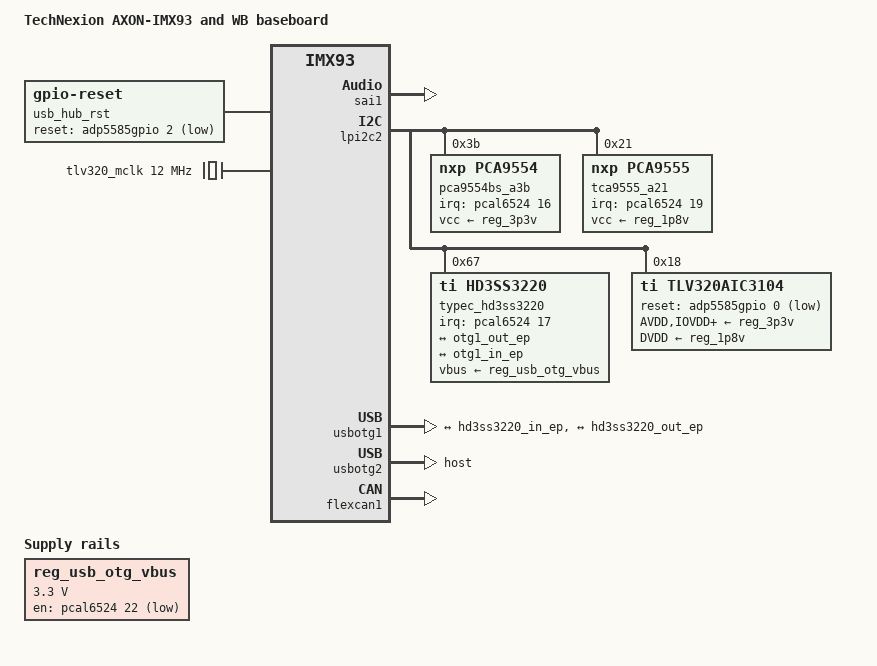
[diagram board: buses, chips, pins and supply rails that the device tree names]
// SPDX-License-Identifier: (GPL-2.0+ OR MIT)
/*
 * Copyright 2022 NXP
 */

/dts-v1/;

#include <dt-bindings/usb/pd.h>
#include "imx93-axon.dtsi"

/ {
	model = "TechNexion AXON-IMX93 and WB baseboard";
	compatible = "fsl,imx93-axon", "fsl,imx93";

	reg_usb_otg_vbus: usb_otg_vbus {
		compatible = "regulator-fixed";
		regulator-name = "usb_otg_vbus";
		regulator-min-microvolt = <3300000>;
		regulator-max-microvolt = <3300000>;
		gpio = <&pcal6524 22 GPIO_ACTIVE_LOW>;
		enable-active-low;
	};

	usb_hub_rst: usb_hub_rst {
		compatible = "gpio-reset";
		reset-gpios = <&adp5585gpio 2 GPIO_ACTIVE_LOW>;
		reset-delay-us = <10>;
		#reset-cells = <0>;
	};

	reg_lvds_pwr: regulator_lvdspwr {
		compatible = "regulator-fixed";
		regulator-name = "lvds0_vdden";
		regulator-min-microvolt = <3300000>;
		regulator-max-microvolt = <3300000>;
		gpio = <&adp5585gpio 5 GPIO_ACTIVE_HIGH>;
		enable-active-high;
		status = "disabled";
	};


	reg_lvds_backlight_pwr: regulator_lvdsblpwr {
		compatible = "regulator-fixed";
		regulator-name = "lvds0_bl_en";
		regulator-min-microvolt = <3300000>;
		regulator-max-microvolt = <3300000>;
		gpio = <&adp5585gpio 7 GPIO_ACTIVE_HIGH>;
		enable-active-high;
		regulator-always-on;
		status = "disabled";
	};


	lvds_backlight: lvds_backlight {
		compatible = "pwm-backlight";
		pwms = <&adp5585pwm 0 50000 0>;
		brightness-levels = <0 36 72 108 144 180 216 255>;
		default-brightness-level = <6>;
		status = "disabled";
	};

	reg_lcd_backlight_en: regulator_lcdblen {
		compatible = "regulator-fixed";
		regulator-name = "lcd_bl_en";
		regulator-min-microvolt = <5000000>;
		regulator-max-microvolt = <5000000>;
		gpio = <&adp5585gpio 4 GPIO_ACTIVE_HIGH>;
		enable-active-high;
		regulator-always-on;
		status = "disabled";
	};

/*	adp5585 have only one pwm output, this is backup for future PCB.
	lcd_backlight: lcd_backlight {
		compatible = "pwm-backlight";
		pwms = <&adp5585pwm 6 50000 0>;
		brightness-levels = <0 36 72 108 144 180 216 255>;
		default-brightness-level = <6>;
		status = "disabled";
	};
*/
	lcd_backlight: lcd_backlight {
		compatible = "regulator-fixed";
		regulator-name = "lcd_bl_full_duty_cycle";
		regulator-min-microvolt = <5000000>;
		regulator-max-microvolt = <5000000>;
		gpio = <&adp5585gpio 6 GPIO_ACTIVE_HIGH>;
		enable-active-high;
		regulator-always-on;
		status = "disabled";
	};

	tlv320_mclk: clk-0 {
		#clock-cells = <0>;
		compatible = "fixed-clock";
		clock-frequency = <12000000>;
	};

	sound {
		compatible = "simple-audio-card";
		simple-audio-card,name = "tlv320aic3x-audio";
		simple-audio-card,widgets =
			"Headphone", "Headphone Jack",
			"Microphone", "Mic Jack";
		simple-audio-card,routing =
			"Headphone Jack", "HPLOUT",
			"Headphone Jack", "HPROUT",
			"MIC2R", "Mic Jack",
			"Mic Jack", "Mic Bias";
		simple-audio-card,format = "dsp_b";
		simple-audio-card,bitclock-master = <&sound_master>;
		simple-audio-card,frame-master = <&sound_master>;
		simple-audio-card,bitclock-inversion;
		status = "okay";

		simple-audio-card,cpu {
			sound-dai = <&sai1>;
		};

		sound_master: simple-audio-card,codec {
			sound-dai = <&tlv320aic3104>;
			clocks = <&tlv320_mclk>;
		};
	};
};

&sai1 {
	status = "okay";
};

&lpi2c2 {
	status = "okay";

	pca9554bs_a3b: pca9554bs@3b {
		compatible = "nxp,pca9554";
		reg = <0x3b>;
		vcc-supply = <&reg_3p3v>;
		gpio-controller;
		#gpio-cells = <2>;
		interrupt-controller;
		#interrupt-cells = <2>;
		interrupt-parent = <&pcal6524>;
		interrupts = <16 IRQ_TYPE_EDGE_FALLING>;
		status = "okay";
		gpio-line-names = "M2_DISABLE_N", "LED_EN", "USB_OTG_OC", "EXT_GPIO8",
					"EXT_GPIO9", "CSI1_PDB", "AUD_A_SW", "PD_FAULT";
	};

	tca9555_a21: tca9555@21 {
		compatible = "nxp,pca9555";
		reg = <0x21>;
		vcc-supply = <&reg_1p8v>;
		gpio-controller;
		#gpio-cells = <2>;
		interrupt-controller;
		#interrupt-cells = <2>;
		interrupt-parent = <&pcal6524>;
		interrupts = <19 IRQ_TYPE_EDGE_FALLING>;
		gpio-line-names = "EXPOSURE_TRIG_IN1", "FLASH_OUT1","INFO_TRIG_IN1", "CAM_SHUTTER1",
			"XVS1", "PWR1_TIME0","PWR1_TIME1", "PWR1_TIME2",
			"", "","", "","", "","", "";
	};

	typec_hd3ss3220: hd3ss3220@67 {
		compatible = "ti,hd3ss3220";
		interrupts-extended = <&pcal6524 17 IRQ_TYPE_EDGE_FALLING>;
		vbus-supply = <&reg_usb_otg_vbus>;
		reg = <0x67>;

		ports {
			#address-cells = <1>;
			#size-cells = <0>;

			port@0 {
				reg = <0>;
				hd3ss3220_in_ep: endpoint {
					remote-endpoint = <&otg1_out_ep>;
				};
			};

			port@1 {
				reg = <1>;
				hd3ss3220_out_ep: endpoint {
					remote-endpoint = <&otg1_in_ep>;
				};
			};
		};
	};

	tlv320aic3104: audio-codec@18 {
		#sound-dai-cells = <0>;
		compatible = "ti,tlv320aic3104";
		reg = <0x18>;
		status = "okay";
		reset-gpios = <&adp5585gpio 0 GPIO_ACTIVE_LOW>;
		ai3x-ocmv = <0>;
		ai3x-micbias-vg = <1>;		/* 2.0V */

		/* Regulators */
		AVDD-supply = <&reg_3p3v>;
		IOVDD-supply = <&reg_3p3v>;
		DRVDD-supply = <&reg_3p3v>;
		DVDD-supply = <&reg_1p8v>;
	};
};

&usbotg1 {
	ports {
		#address-cells = <1>;
		#size-cells = <0>;

		port@0 {
			reg = <0>;
			otg1_out_ep: endpoint {
				remote-endpoint = <&hd3ss3220_in_ep>;
			};
		};

		port@1 {
			reg = <1>;
			otg1_in_ep: endpoint {
				remote-endpoint = <&hd3ss3220_out_ep>;
			};
		};
	};
};

&usbotg2 {
	dr_mode = "host";
	status = "okay";
};

&flexcan1 {
	status = "okay";
};
